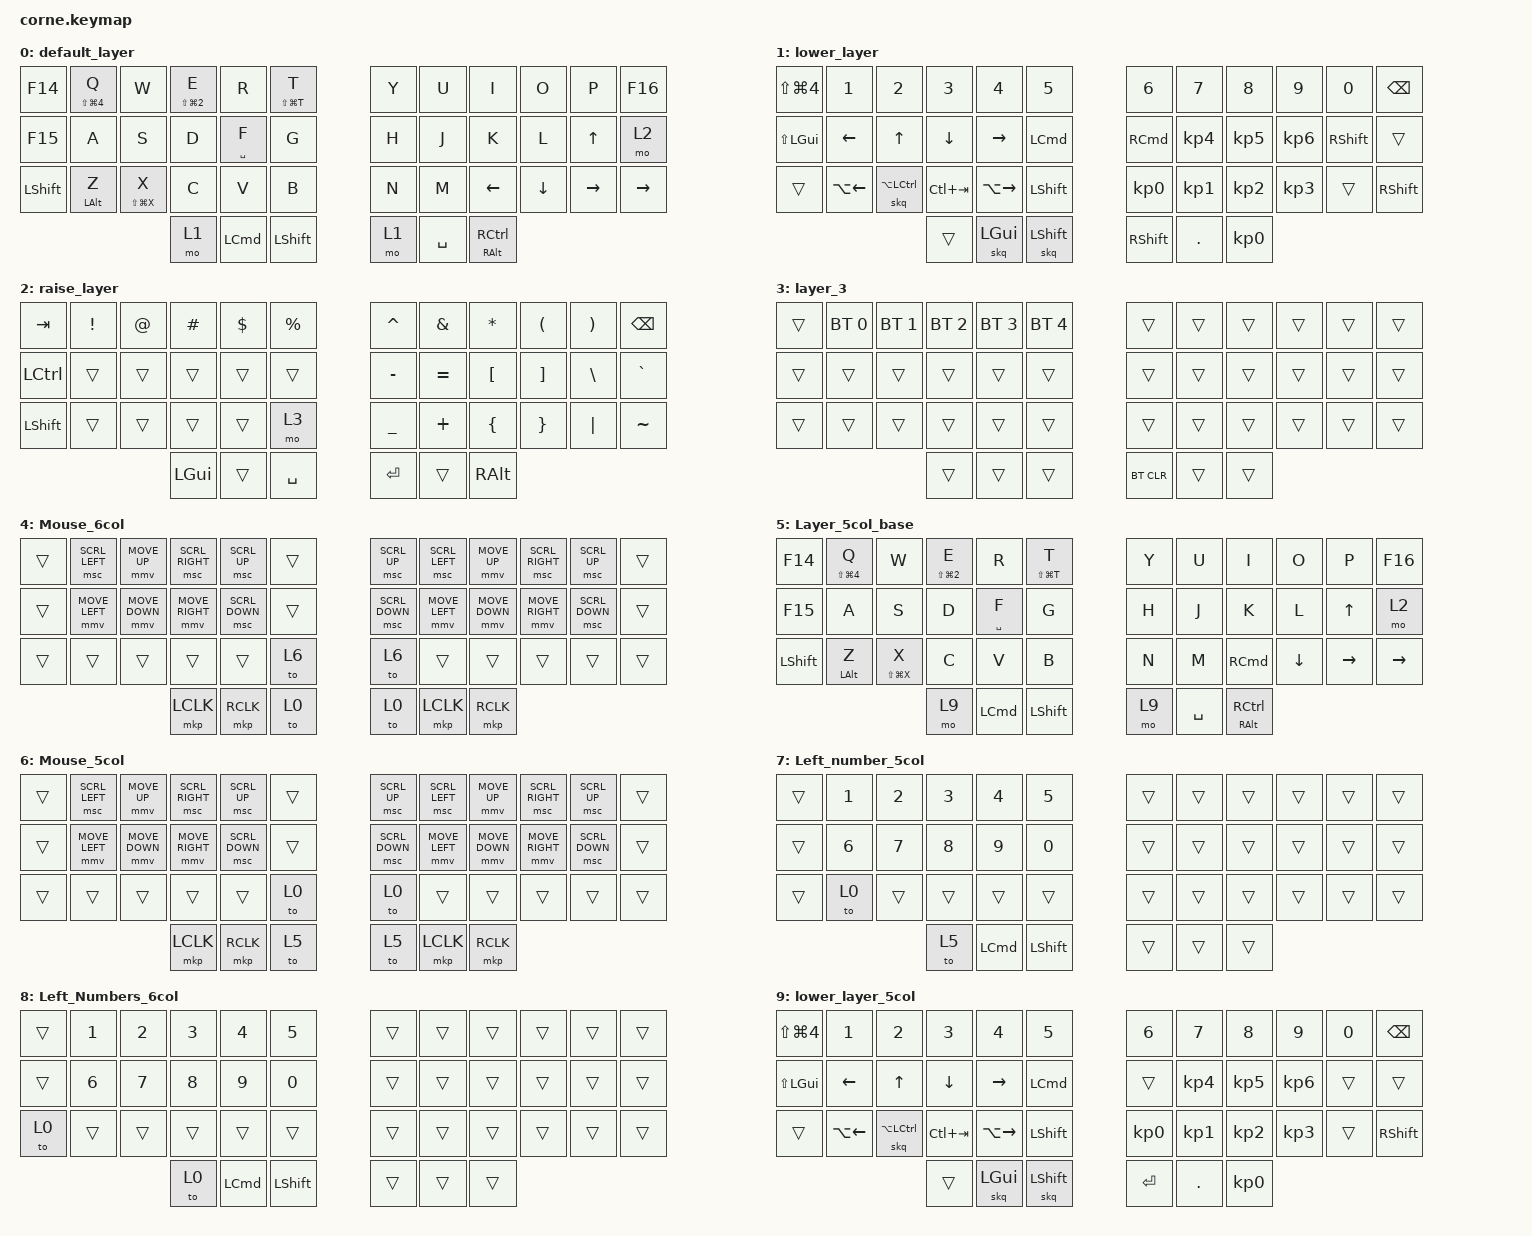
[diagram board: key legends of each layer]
/*
 * Copyright (c) 2020 The ZMK Contributors
 *
 * SPDX-License-Identifier: MIT
 */

#define ZMK_POINTING_DEFAULT_MOVE_VAL 1500
#define ZMK_POINTING_DEFAULT_SCRL_VAL 20

#include <behaviors.dtsi>
#include <dt-bindings/zmk/bt.h>
#include <dt-bindings/zmk/keys.h>
#include <dt-bindings/zmk/pointing.h>

&nice_view_spi { cs-gpios = <&pro_micro 10 GPIO_ACTIVE_HIGH>; };

/ {
    behaviors {
        skq: sticky_key_quick_release {
            label = "STICKY_KEY_QUICK_RELEASE";
            compatible = "zmk,behavior-sticky-key";
            #binding-cells = <1>;
            bindings = <&kp>;
            release-after-ms = <2000>;
            quick-release;
            ignore-modifiers;
        };

        gqt: global-quick-tap {
            compatible = "zmk,behavior-hold-tap";
            label = "GLOBAL_QUICK_TAP";
            #binding-cells = <2>;
            flavor = "tap-preferred";
            tapping-term-ms = <250>;
            quick-tap-ms = <150>;
            global-quick-tap;
            bindings = <&kp>, <&kp>;
        };
    };

    combos {
        compatible = "zmk,combos";

        combo_escape {
            bindings = <&kp ESCAPE>;
            key-positions = <1 2>;
        };

        combo_exclaimation {
            bindings = <&kp EXCLAMATION>;
            key-positions = <2 3>;
        };

        combo_at_sign {
            bindings = <&kp AT_SIGN>;
            key-positions = <14 15 16>;
        };

        combo_hash {
            bindings = <&kp HASH>;
            key-positions = <1 3>;
        };

        combo_dollar {
            bindings = <&kp DOLLAR>;
            key-positions = <1 5>;
        };

        combo_percent {
            bindings = <&kp PERCENT>;
            key-positions = <2 4>;
        };

        combo_ampersand {
            bindings = <&kp AMPS>;
            key-positions = <19 20>;
        };

        combo_caret {
            bindings = <&kp CARET>;
            key-positions = <19 21>;
        };

        combo_asterisk {
            bindings = <&kp ASTRK>;
            key-positions = <21 20>;
        };

        combo_left_parenthesis {
            bindings = <&kp LEFT_PARENTHESIS>;
            key-positions = <8 7>;
        };

        combo_right_parenthesis {
            bindings = <&kp RIGHT_PARENTHESIS>;
            key-positions = <9 8>;
        };

        combo_volume_up {
            bindings = <&kp C_VOLUME_UP>;
            key-positions = <27 28>;
        };

        combo_volume_down {
            bindings = <&kp C_VOLUME_DOWN>;
            key-positions = <25 26>;
        };

        combo_mute {
            bindings = <&kp C_MUTE>;
            key-positions = <25 26 27>;
        };

        combo_backspace {
            bindings = <&kp BACKSPACE>;
            key-positions = <6 7>;
        };

        combo_delete {
            bindings = <&kp DELETE>;
            key-positions = <5 4>;
        };

        combo_underscore {
            bindings = <&kp UNDERSCORE>;
            key-positions = <29 28>;
        };

        combo_minus {
            bindings = <&kp MINUS>;
            key-positions = <17 16>;
        };

        combo_plus {
            bindings = <&kp PLUS>;
            key-positions = <30 31>;
        };

        combo_equal {
            bindings = <&kp EQUAL>;
            key-positions = <18 19>;
        };

        combo_media_previous {
            bindings = <&kp C_RW>;
            key-positions = <13 26>;
        };

        combo_Media_Next {
            bindings = <&kp C_FF>;
            key-positions = <27 16>;
        };

        combo_left_control {
            bindings = <&kp LEFT_CONTROL>;
            key-positions = <24 36>;
        };

        combo_left_option {
            bindings = <&kp LEFT_ALT>;
            key-positions = <24 38>;
        };

        combo_single_quote {
            bindings = <&kp SINGLE_QUOTE>;
            key-positions = <9 10>;
        };

        combo_apostrophe {
            bindings = <&kp DOUBLE_QUOTES>;
            key-positions = <10 20 21>;
        };

        combo_question {
            bindings = <&kp QUESTION>;
            key-positions = <21 20 19>;
        };

        combo_slash {
            bindings = <&kp SLASH>;
            key-positions = <9 10 20>;
        };

        combo_colon {
            bindings = <&kp COLON>;
            key-positions = <33 32 31>;
        };

        combo_semicolon {
            bindings = <&kp SEMI>;
            key-positions = <30 31 32>;
        };

        combo_dot {
            bindings = <&kp DOT>;
            key-positions = <9 8 19>;
        };

        combo_comma {
            bindings = <&kp COMMA>;
            key-positions = <18 7 8>;
        };

        combo_right_bracket {
            bindings = <&kp RIGHT_BRACKET>;
            key-positions = <23 22>;
        };

        combo_left_bracket {
            bindings = <&kp LEFT_BRACKET>;
            key-positions = <22 21>;
        };

        combo_backslash {
            bindings = <&kp BACKSLASH>;
            key-positions = <10 11>;
        };

        combo_enter_left {
            bindings = <&kp ENTER>;
            key-positions = <2 3 4>;
        };

        combo_enter_right {
            bindings = <&kp ENTER>;
            key-positions = <9 8 7>;
        };

        combo_play {
            bindings = <&kp C_PLAY_PAUSE>;
            key-positions = <26 27>;
        };

        combo_tab_2 {
            bindings = <&kp TAB>;
            key-positions = <15 16>;
        };

        combo_space {
            bindings = <&kp SPACE>;
            key-positions = <1 2 3>;
        };

        combo_space_2 {
            bindings = <&kp SPACE>;
            key-positions = <15 16 17>;
        };

        combo_meme {
            bindings = <&macro_meme>;
            key-positions = <34 30>;
        };

        combo_sad {
            bindings = <&macro_sweat>;
            key-positions = <25 16>;
        };

        combo_thumbs_up {
            bindings = <&macro_thumbs_up>;
            key-positions = <17 25>;
        };

        combo_cheers_benroy {
            bindings = <&macro_cheers_benroy>;
            key-positions = <25 17 3>;
        };

        combo_desktop_right {
            bindings = <&kp RC(RIGHT)>;
            key-positions = <41 35>;
        };

        combo_desktop_left {
            bindings = <&kp RC(LEFT)>;
            key-positions = <41 33>;
        };

        combo_joy_emote {
            bindings = <&macro_brackets>;
            key-positions = <25 15>;
        };

        combo_macro_pathetic {
            bindings = <&macro_patriotic_pathetic>;
            key-positions = <33 30 32>;
        };

        combo_backtick {
            bindings = <&kp GRAVE>;
            key-positions = <3 16 2>;
        };

        combo_right_shift {
            bindings = <&kp RIGHT_SHIFT>;
            key-positions = <31 32>;
        };

        combo_right_command {
            bindings = <&kp RIGHT_COMMAND>;
            key-positions = <23 41>;
        };

        combo_tilde {
            bindings = <&kp GRAVE>;
            key-positions = <17 4 3>;
        };

        man-in-arena {
            bindings = <&brackets>;
            key-positions = <17 16 15 18 19 20>;
        };

        combo_right_desktop {
            bindings = <&kp RC(RIGHT)>;
            key-positions = <17 29>;
        };

        combo_left_desktop {
            bindings = <&kp LC(LEFT_ARROW)>;
            key-positions = <16 28>;
        };

        combo_alfred_clipboard {
            bindings = <&kp LG(LA(V))>;
            key-positions = <16 4>;
        };

        combo_forward {
            bindings = <&kt LG(RIGHT_ARROW)>;
            key-positions = <26 14>;
        };

        combo_back {
            bindings = <&kp LG(LEFT_ARROW)>;
            key-positions = <25 13>;
        };

        combo_maximise {
            bindings = <&kp LC(CAPSLOCK)>;
            key-positions = <12 0 38>;
        };

        combo_minimise {
            bindings = <&kp LG(M)>;
            key-positions = <24 12>;
        };

        combo_Left_Shift {
            bindings = <&skq LS(LEFT_GUI)>;
            key-positions = <17 5>;
        };

        Combo_SKQ_shift+command {
            bindings = <&skq LS(LEFT_GUI)>;
            key-positions = <38 1>;
        };

        combo_mouse_layer {
            bindings = <&to 4>;
            key-positions = <13 17>;
        };

        combo_right_mouse {
            bindings = <&to 4>;
            key-positions = <18 22>;
        };

        Combo_desktop_up {
            bindings = <&kp LC(UP_ARROW)>;
            key-positions = <25 29>;
        };

        Combo_right_shift_5col {
            bindings = <&kp RIGHT_SHIFT>;
            key-positions = <22 41>;
        };

        Combo_F1_5col {
            bindings = <&kp F1>;
            key-positions = <1 17>;
        };

        combo_right_bracket_5col {
            bindings = <&kp RIGHT_BRACKET>;
            key-positions = <22 21 20>;
        };

        combo_backslash_5col {
            bindings = <&kp BACKSLASH>;
            key-positions = <10 9 8>;
        };

        combo_bluetooth_layer {
            bindings = <&mo 2>;
            key-positions = <6 7 8>;
        };

        combo_5col_trigger {
            bindings = <&to 5>;
            key-positions = <34 33 32>;
        };

        combo_6col_layer {
            bindings = <&to 0>;
            key-positions = <36 38 5 1>;
        };

        combo_left_numpad {
            bindings = <&to 7>;
            key-positions = <29 28 27>;
        };

        combo_left_click {
            bindings = <&mkp LCLK>;
            key-positions = <17 4>;
        };

        combo_right_click {
            bindings = <&mkp RCLK>;
            key-positions = <29 16>;
        };
    };

    macros {
        macro_meme: macro_meme {
            compatible = "zmk,behavior-macro";
            label = "MACRO_MEME";
            #binding-cells = <0>;
            bindings = <&kp LS(I) &kp SPACE &kp F &kp E &kp E &kp L &kp SPACE &kp L &kp I &kp K &kp E &kp SPACE &kp W &kp E &kp SPACE &kp H &kp A &kp V &kp E &kp SPACE &kp G &kp O &kp N &kp E &kp SPACE &kp P &kp A &kp S &kp T &kp SPACE &kp S &kp O &kp C &kp I &kp A &kp L &kp SPACE &kp N &kp O &kp R &kp M &kp S &kp SPACE &kp H &kp A &kp H &kp H &kp A &kp A &kp H &kp A &kp H &kp H &kp H &kp ENTER>;
        };

        macro_thumbs_up: macro_thumbs_up {
            compatible = "zmk,behavior-macro";
            label = "MACRO_THUMBS_UP";
            #binding-cells = <0>;
            bindings = <&none &kp COLON &kp T &kp H &kp U &kp M &kp B &kp S>;
        };

        macro_sweat: macro_sweat {
            compatible = "zmk,behavior-macro";
            label = "MACRO_SWEAT";
            #binding-cells = <0>;
            bindings = <&none &kp COLON &kp S &kp W &kp E &kp A &kp T>;
        };

        macro_cheers_benroy: macro_cheers_benroy {
            compatible = "zmk,behavior-macro";
            label = "MACRO_CHEERS_BENROY";
            #binding-cells = <0>;
            bindings = <&none &kp LS(C) &kp H &kp E &kp E &kp R &kp S &kp EXCL &kp RET &kp LS(B) &kp E &kp N &kp R &kp O &kp Y>;
        };

        macro_patriotic_pathetic: macro_patriotic_pathetic {
            compatible = "zmk,behavior-macro";
            label = "MACRO_PATRIOTIC_PATHETIC";
            #binding-cells = <0>;
            bindings = <&none &kp LS(N) &kp O &kp T &kp SPACE &kp B &kp E &kp C &kp A &kp U &kp S &kp E &kp SPACE &kp LS(I) &kp SPACE &kp A &kp M &kp SPACE &kp P &kp A &kp T &kp R &kp I &kp O &kp T &kp I &kp C &kp SPACE &kp B &kp U &kp T &kp SPACE &kp B &kp E &kp C &kp A &kp U &kp S &kp E &kp SPACE &kp LS(I) &kp SPACE &kp A &kp M &kp SPACE &kp P &kp A &kp T &kp H &kp E &kp T &kp I &kp C>;
        };
    };

    keymap {
        compatible = "zmk,keymap";

        default_layer {
            // -----------------------------------------------------------------------------------------
            // |  TAB |  Q  |  W  |  E  |  R  |  T  |   |  Y  |  U   |  I  |  O  |  P  | BKSP |
            // | CTRL |  A  |  S  |  D  |  F  |  G  |   |  H  |  J   |  K  |  L  |  ;  |  '   |
            // | SHFT |  Z  |  X  |  C  |  V  |  B  |   |  N  |  M   |  ,  |  .  |  /  | ESC  |
            //                    | GUI | LWR | SPC |   | ENT | RSE  | ALT |

            bindings = <
&kp F14    &gqt LS(LG(NUMBER_4)) Q  &kp W             &gqt LS(LG(NUMBER_2)) E  &kp R             &gqt LS(LG(T)) T    &kp Y  &kp U      &kp I                         &kp O     &kp P            &kp F16
&kp F15    &kp A                    &kp S             &kp D                    &gqt SPACE F      &kp G               &kp H  &kp J      &kp K                         &kp L     &kp UP           &mo 2
&kp LSHFT  &gqt LEFT_ALT Z          &gqt LS(LG(X)) X  &kp C                    &kp V             &kp B               &kp N  &kp M      &kp LEFT_ARROW                &kp DOWN  &kp RIGHT_ARROW  &kp RIGHT
                                                      &mo 1                    &kp LEFT_COMMAND  &kp LEFT_SHIFT      &mo 1  &kp SPACE  &gqt RIGHT_ALT RIGHT_CONTROL
            >;
        };

        lower_layer {
            // -----------------------------------------------------------------------------------------
            // |  TAB |  1  |  2  |  3  |  4  |  5  |   |  6  |  7  |  8  |  9  |  0  | BKSP |
            // | BTCLR| BT1 | BT2 | BT3 | BT4 | BT5 |   | LFT | DWN |  UP | RGT |     |      |
            // | SHFT |     |     |     |     |     |   |     |     |     |     |     |      |
            //                    | GUI |     | SPC |   | ENT |     | ALT |

            bindings = <
&kp LS(LG(N4))    &kp N1        &kp N2          &kp N3       &kp N4         &kp N5              &kp N6             &kp N7           &kp N8           &kp N9           &kp N0           &kp BSPC
&kp LS(LEFT_GUI)  &kp LEFT      &kp UP          &kp DOWN     &kp RIGHT      &kp LEFT_COMMAND    &kp RIGHT_COMMAND  &kp KP_NUMBER_4  &kp KP_NUMBER_5  &kp KP_NUMBER_6  &kp RIGHT_SHIFT  &trans
&trans            &kp LA(LEFT)  &skq LA(LCTRL)  &kp LC(TAB)  &kp LA(RIGHT)  &kp LEFT_SHIFT      &kp KP_NUMBER_0    &kp KP_NUMBER_1  &kp KP_NUMBER_2  &kp KP_NUMBER_3  &trans           &kp RIGHT_SHIFT
                                                &trans       &skq LEFT_GUI  &skq LEFT_SHIFT     &kp RIGHT_SHIFT    &kp DOT          &kp KP_NUMBER_0
            >;
        };

        raise_layer {
            // -----------------------------------------------------------------------------------------
            // |  TAB |    |  @  |  #  |  $  |  %  |   |  ^  |  &  |  *  |  (  |  )  | BKSP |
            // | CTRL |     |     |     |     |     |   |  -  |  =  |  [  |  ]  |  \  |  `   |
            // | SHFT |     |     |     |     |     |   |  _  |  +  |  {  |  }  | "|" |  ~   |
            //                    | GUI |     | SPC |   | ENT |     | ALT |

            bindings = <
&kp TAB    &kp EXCL  &kp AT  &kp HASH  &kp DLLR  &kp PRCNT    &kp CARET  &kp AMPS   &kp ASTRK  &kp LPAR  &kp RPAR  &kp BSPC
&kp LCTRL  &trans    &trans  &trans    &trans    &trans       &kp MINUS  &kp EQUAL  &kp LBKT   &kp RBKT  &kp BSLH  &kp GRAVE
&kp LSHFT  &trans    &trans  &trans    &trans    &mo 3        &kp UNDER  &kp PLUS   &kp LBRC   &kp RBRC  &kp PIPE  &kp TILDE
                             &kp LGUI  &trans    &kp SPACE    &kp RET    &trans     &kp RALT
            >;
        };

        layer_3 {
            bindings = <
&trans  &bt BT_SEL 0  &bt BT_SEL 1  &bt BT_SEL 2  &bt BT_SEL 3  &bt BT_SEL 4    &trans      &trans  &trans  &trans  &trans  &trans
&trans  &trans        &trans        &trans        &trans        &trans          &trans      &trans  &trans  &trans  &trans  &trans
&trans  &trans        &trans        &trans        &trans        &trans          &trans      &trans  &trans  &trans  &trans  &trans
                                    &trans        &trans        &trans          &bt BT_CLR  &trans  &trans
            >;
        };

        Mouse_6col {
            bindings = <
&trans  &msc SCRL_LEFT  &mmv MOVE_UP    &msc SCRL_RIGHT  &msc SCRL_UP    &trans    &msc SCRL_UP    &msc SCRL_LEFT  &mmv MOVE_UP    &msc SCRL_RIGHT  &msc SCRL_UP    &trans
&trans  &mmv MOVE_LEFT  &mmv MOVE_DOWN  &mmv MOVE_RIGHT  &msc SCRL_DOWN  &trans    &msc SCRL_DOWN  &mmv MOVE_LEFT  &mmv MOVE_DOWN  &mmv MOVE_RIGHT  &msc SCRL_DOWN  &trans
&trans  &trans          &trans          &trans           &trans          &to 6     &to 6           &trans          &trans          &trans           &trans          &trans
                                        &mkp LCLK        &mkp RCLK       &to 0     &to 0           &mkp LCLK       &mkp RCLK
            >;
        };

        Layer_5col_base {
            bindings = <
&kp F14    &gqt LS(LG(NUMBER_4)) Q  &kp W             &gqt LS(LG(NUMBER_2)) E  &kp R             &gqt LS(LG(T)) T    &kp Y  &kp U      &kp I                         &kp O           &kp P            &kp F16
&kp F15    &kp A                    &kp S             &kp D                    &gqt SPACE F      &kp G               &kp H  &kp J      &kp K                         &kp L           &kp UP           &mo 2
&kp LSHFT  &gqt LEFT_ALT Z          &gqt LS(LG(X)) X  &kp C                    &kp V             &kp B               &kp N  &kp M      &kp RIGHT_COMMAND             &kp DOWN_ARROW  &kp RIGHT_ARROW  &kp RIGHT
                                                      &mo 9                    &kp LEFT_COMMAND  &kp LEFT_SHIFT      &mo 9  &kp SPACE  &gqt RIGHT_ALT RIGHT_CONTROL
            >;
        };

        Mouse_5col {
            bindings = <
&trans  &msc SCRL_LEFT  &mmv MOVE_UP    &msc SCRL_RIGHT  &msc SCRL_UP    &trans    &msc SCRL_UP    &msc SCRL_LEFT  &mmv MOVE_UP    &msc SCRL_RIGHT  &msc SCRL_UP    &trans
&trans  &mmv MOVE_LEFT  &mmv MOVE_DOWN  &mmv MOVE_RIGHT  &msc SCRL_DOWN  &trans    &msc SCRL_DOWN  &mmv MOVE_LEFT  &mmv MOVE_DOWN  &mmv MOVE_RIGHT  &msc SCRL_DOWN  &trans
&trans  &trans          &trans          &trans           &trans          &to 0     &to 0           &trans          &trans          &trans           &trans          &trans
                                        &mkp LCLK        &mkp RCLK       &to 5     &to 5           &mkp LCLK       &mkp RCLK
            >;
        };

        Left_number_5col {
            bindings = <
&trans  &kp NUMBER_1  &kp NUMBER_2  &kp NUMBER_3  &kp NUMBER_4      &kp N5            &trans  &trans  &trans  &trans  &trans  &trans
&trans  &kp NUMBER_6  &kp NUMBER_7  &kp NUMBER_8  &kp NUMBER_9      &kp NUMBER_0      &trans  &trans  &trans  &trans  &trans  &trans
&trans  &to 0         &trans        &trans        &trans            &trans            &trans  &trans  &trans  &trans  &trans  &trans
                                    &to 5         &kp LEFT_COMMAND  &kp LEFT_SHIFT    &trans  &trans  &trans
            >;
        };

        Left_Numbers_6col {
            bindings = <
&trans  &kp NUMBER_1  &kp NUMBER_2  &kp NUMBER_3  &kp NUMBER_4      &kp N5            &trans  &trans  &trans  &trans  &trans  &trans
&trans  &kp NUMBER_6  &kp NUMBER_7  &kp NUMBER_8  &kp NUMBER_9      &kp NUMBER_0      &trans  &trans  &trans  &trans  &trans  &trans
&to 0   &trans        &trans        &trans        &trans            &trans            &trans  &trans  &trans  &trans  &trans  &trans
                                    &to 0         &kp LEFT_COMMAND  &kp LEFT_SHIFT    &trans  &trans  &trans
            >;
        };

        lower_layer_5col {
            bindings = <
&kp LS(LG(N4))    &kp N1        &kp N2          &kp N3       &kp N4         &kp N5              &kp N6           &kp N7           &kp N8           &kp N9           &kp N0  &kp BSPC
&kp LS(LEFT_GUI)  &kp LEFT      &kp UP          &kp DOWN     &kp RIGHT      &kp LEFT_COMMAND    &trans           &kp KP_NUMBER_4  &kp KP_NUMBER_5  &kp KP_NUMBER_6  &trans  &trans
&trans            &kp LA(LEFT)  &skq LA(LCTRL)  &kp LC(TAB)  &kp LA(RIGHT)  &kp LEFT_SHIFT      &kp KP_NUMBER_0  &kp KP_NUMBER_1  &kp KP_NUMBER_2  &kp KP_NUMBER_3  &trans  &kp RIGHT_SHIFT
                                                &trans       &skq LEFT_GUI  &skq LEFT_SHIFT     &kp RET          &kp DOT          &kp KP_NUMBER_0
            >;
        };
    };
};
